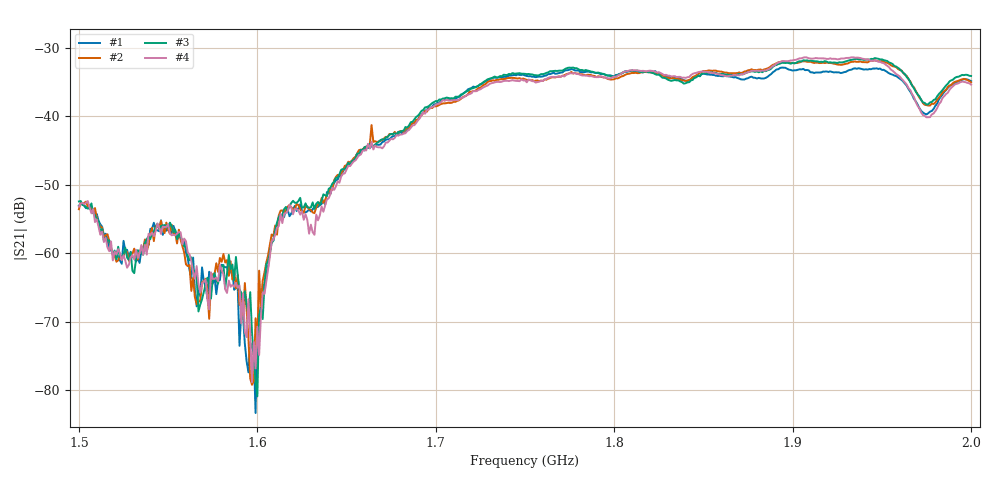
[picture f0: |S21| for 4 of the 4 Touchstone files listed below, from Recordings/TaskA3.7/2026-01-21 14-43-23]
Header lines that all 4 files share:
! NanoVNA-App by SYSJOINT et al v1.1.209 (+OD18)
! Start: 1,5GHz Stop: 2GHz Points: 501
! S-Parameter data: F S11 S21 S12 S22
# Hz S RI R 50
!  Frequency  S11_Real  S11_Imag  S21_Real  S21_Imag  S12_Real  S12_Imag  S22_Real  S22_Imag
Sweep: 1.5 GHz to 2 GHz
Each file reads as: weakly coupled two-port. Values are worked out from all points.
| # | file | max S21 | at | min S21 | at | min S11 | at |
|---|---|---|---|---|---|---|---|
| 1 | 0.s2p | -32.88 dB | 1.894 GHz | -83.3 dB | 1.599 GHz | -29.7 dB | 1.817 GHz |
| 2 | 1.s2p | -31.81 dB | 1.946 GHz | -79.2 dB | 1.597 GHz | -30.2 dB | 1.817 GHz |
| 3 | 2.s2p | -31.50 dB | 1.946 GHz | -80.9 dB | 1.6 GHz | -30.6 dB | 1.817 GHz |
| 4 | 3.s2p | -31.37 dB | 1.907 GHz | -78.8 dB | 1.597 GHz | -29.5 dB | 1.817 GHz |
